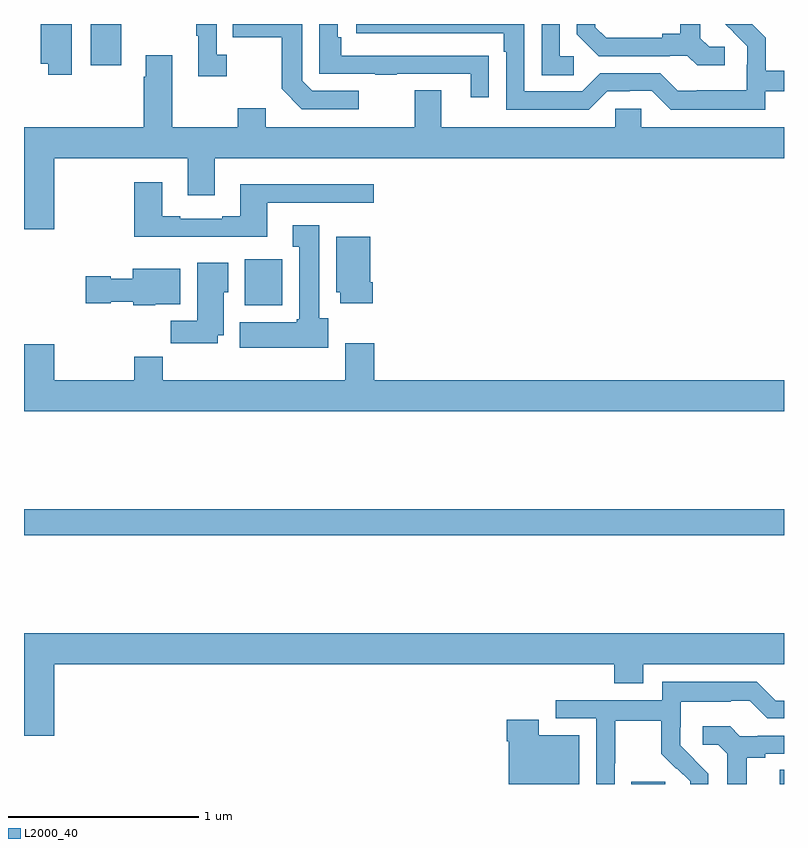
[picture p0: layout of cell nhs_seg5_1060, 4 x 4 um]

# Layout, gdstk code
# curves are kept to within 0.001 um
import gdstk
lib = gdstk.Library(unit=1e-6, precision=1e-09)
def R(c, l, rs):  # rectangles x0, y0, x1, y1
    for r in rs: c.add(gdstk.rectangle(r[:2], r[2:], *l))
def P(c, l, *ps):  # polygons
    for p in ps: c.add(gdstk.Polygon(p, *l))
L2000_40 = (2000, 40)

nhs_seg5_1060 = lib.new_cell('nhs_seg5_1060')
R(nhs_seg5_1060, L2000_40, [(180.197,854.799,180.376,854.811), (180.977,854.799,181,854.873), (177,856.108,181,856.244), (178.163,857.318,178.36,857.56), (177.35,858.582,177.511,858.799)])
P(nhs_seg5_1060, L2000_40, [(180.9,858.444),(181,858.444),(181,858.553),(180.905,858.553),(180.905,858.727),(180.833,858.799),(180.691,858.799),(180.806,858.682),(180.806,858.585),(180.804,858.585),(180.804,858.451),(180.541,858.451),(180.541,858.447),(180.441,858.447),(180.348,858.54),(180.033,858.54),(179.937,858.444),(179.634,858.444),(179.634,858.799),(178.749,858.799),(178.749,858.75),(179.525,858.75),(179.525,858.653),(179.538,858.653),(179.538,858.348),(179.973,858.348),(180.069,858.444),(180.188,858.444),(180.188,858.447),(180.303,858.447),(180.403,858.347),(180.9,858.347)],
  [(180.688,858.678),(180.606,858.678),(180.559,858.725),(180.559,858.799),(180.455,858.799),(180.455,858.749),(180.359,858.749),(180.359,858.726),(180.064,858.726),(180.007,858.783),(180.007,858.799),(179.91,858.799),(179.91,858.746),(180.026,858.63),(180.398,858.63),(180.398,858.633),(180.492,858.633),(180.544,858.581),(180.688,858.581)],
  [(178.762,858.447),(178.518,858.447),(178.464,858.501),(178.464,858.799),(178.099,858.799),(178.099,858.73),(178.356,858.73),(178.356,858.457),(178.461,858.351),(178.762,858.351)],
  [(179.447,858.632),(179.345,858.632),(179.345,858.633),(178.67,858.633),(178.67,858.73),(178.65,858.73),(178.65,858.799),(178.554,858.799),(178.554,858.537),(178.849,858.537),(178.849,858.532),(178.961,858.532),(178.961,858.537),(179.351,858.537),(179.351,858.414),(179.447,858.414)],
  [(178.066,858.638),(178.014,858.638),(178.014,858.799),(177.906,858.799),(177.906,858.737),(177.917,858.737),(177.917,858.525),(178.066,858.525)],
  [(177.25,858.799),(177.088,858.799),(177.088,858.59),(177.128,858.59),(177.128,858.531),(177.25,858.531)],
  [(179.893,858.63),(179.82,858.63),(179.82,858.799),(179.724,858.799),(179.724,858.529),(179.893,858.529)],
  [(177.16,858.092),(177.863,858.092),(177.863,857.898),(178.003,857.898),(178.003,858.092),(181,858.092),(181,858.256),(180.249,858.256),(180.249,858.354),(180.111,858.354),(180.111,858.256),(179.197,858.256),(179.197,858.451),(179.057,858.451),(179.057,858.256),(178.273,858.256),(178.273,858.355),(178.126,858.355),(178.126,858.256),(177.781,858.256),(177.781,858.634),(177.641,858.634),(177.641,858.521),(177.629,858.521),(177.629,858.256),(177,858.256),(177,857.718),(177.16,857.718)],
  [(178.279,857.859),(178.84,857.859),(178.84,857.956),(178.139,857.956),(178.139,857.788),(178.043,857.788),(178.043,857.775),(177.823,857.775),(177.823,857.788),(177.727,857.788),(177.727,857.965),(177.58,857.965),(177.58,857.678),(178.279,857.678)],
  [(178.6,857.25),(178.555,857.25),(178.555,857.74),(178.415,857.74),(178.415,857.627),(178.448,857.627),(178.448,857.244),(178.435,857.244),(178.435,857.23),(178.136,857.23),(178.136,857.096),(178.6,857.096)],
  [(178.835,857.44),(178.822,857.44),(178.822,857.68),(178.643,857.68),(178.643,857.388),(178.664,857.388),(178.664,857.328),(178.835,857.328)],
  [(178.021,857.162),(178.051,857.162),(178.051,857.388),(178.075,857.388),(178.075,857.542),(177.911,857.542),(177.911,857.236),(177.772,857.236),(177.772,857.118),(178.021,857.118)],
  [(177.69,857.324),(177.823,857.324),(177.823,857.512),(177.572,857.512),(177.572,857.458),(177.456,857.458),(177.456,857.471),(177.324,857.471),(177.324,857.329),(177.456,857.329),(177.456,857.336),(177.576,857.336),(177.576,857.318),(177.69,857.318)],
  [(181,856.924),(178.844,856.924),(178.844,857.119),(178.691,857.119),(178.691,856.924),(177.731,856.924),(177.731,857.048),(177.58,857.048),(177.58,856.924),(177.16,856.924),(177.16,857.113),(177,857.113),(177,856.76),(181,856.76)],
  [(177.16,855.428),(180.107,855.428),(180.107,855.329),(180.259,855.329),(180.259,855.428),(181,855.428),(181,855.592),(177,855.592),(177,855.054),(177.16,855.054)],
  [(180.108,854.908),(180.111,854.908),(180.111,855.132),(180.355,855.132),(180.355,854.957),(180.432,854.88),(180.435,854.883),(180.506,854.813),(180.506,854.799),(180.6,854.799),(180.6,854.854),(180.454,855.002),(180.454,855.099),(180.456,855.099),(180.456,855.233),(180.719,855.233),(180.719,855.237),(180.819,855.237),(180.912,855.144),(181,855.144),(181,855.237),(180.957,855.237),(180.857,855.337),(180.36,855.337),(180.36,855.24),(179.799,855.24),(179.799,855.144),(180.012,855.144),(180.012,854.799),(180.108,854.799)],
  [(179.923,855.055),(179.71,855.055),(179.71,855.136),(179.54,855.136),(179.54,855.023),(179.552,855.023),(179.552,854.799),(179.923,854.799)],
  [(180.805,854.936),(180.901,854.936),(180.901,854.958),(181,854.958),(181,855.054),(180.862,855.054),(180.862,855.051),(180.768,855.051),(180.716,855.103),(180.573,855.103),(180.573,855.006),(180.654,855.006),(180.701,854.959),(180.701,854.799),(180.805,854.799)])

lib.write_gds('nhs_seg5_1060.gds')
